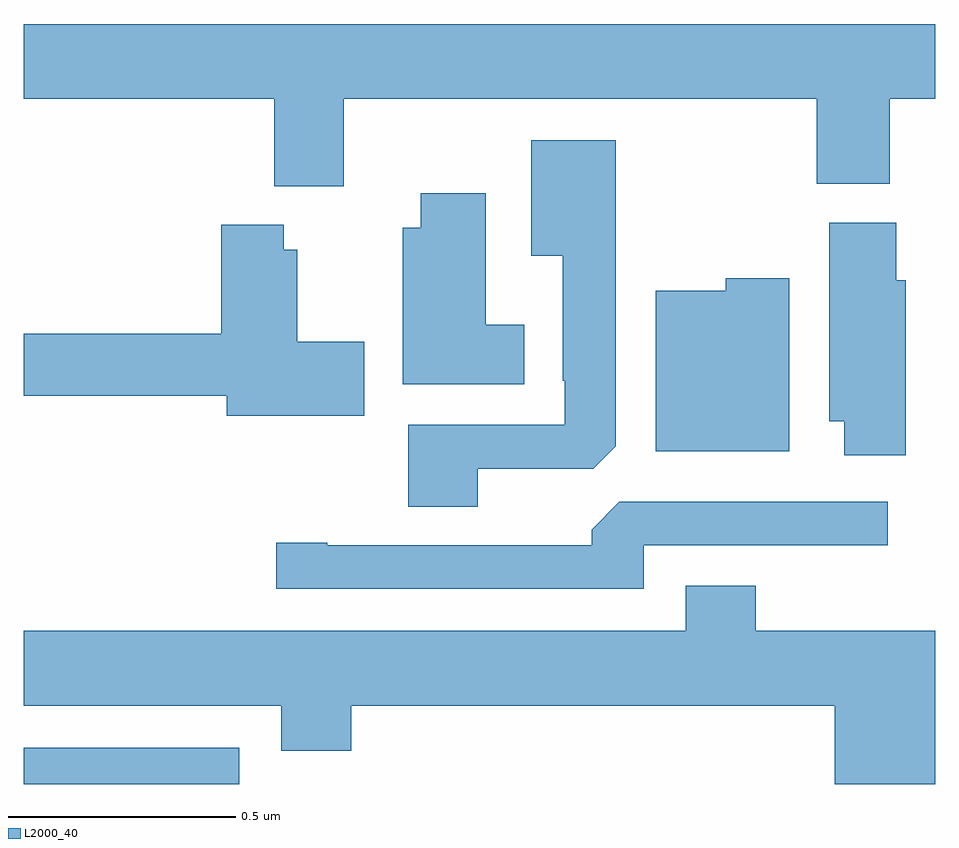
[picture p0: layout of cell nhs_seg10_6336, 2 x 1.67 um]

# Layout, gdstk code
import gdstk
lib = gdstk.Library(unit=1e-6, precision=1e-09)
def R(c, l, rs):  # rectangles x0, y0, x1, y1
    for r in rs: c.add(gdstk.rectangle(r[:2], r[2:], *l))
def P(c, l, *ps):  # polygons
    for p in ps: c.add(gdstk.Polygon(p, *l))
L2000_40 = (2000, 40)

nhs_seg10_6336 = lib.new_cell('nhs_seg10_6336')
R(nhs_seg10_6336, L2000_40, [(190,1277.5,190.473,1277.58)])
P(nhs_seg10_6336, L2000_40, [(190.702,1279.004),(191.74,1279.004),(191.74,1278.817),(191.9,1278.817),(191.9,1279.004),(192,1279.004),(192,1279.168),(190,1279.168),(190,1279.004),(190.55,1279.004),(190.55,1278.812),(190.702,1278.812)],
  [(190.996,1278.192),(191.25,1278.192),(191.299,1278.241),(191.299,1278.913),(191.114,1278.913),(191.114,1278.659),(191.183,1278.659),(191.183,1278.385),(191.187,1278.385),(191.187,1278.288),(190.844,1278.288),(190.844,1278.109),(190.996,1278.109)],
  [(191.098,1278.508),(191.014,1278.508),(191.014,1278.796),(190.871,1278.796),(190.871,1278.721),(190.832,1278.721),(190.832,1278.377),(191.098,1278.377)],
  [(191.936,1278.606),(191.915,1278.606),(191.915,1278.732),(191.768,1278.732),(191.768,1278.296),(191.801,1278.296),(191.801,1278.222),(191.936,1278.222)],
  [(190.747,1278.471),(190.6,1278.471),(190.6,1278.673),(190.57,1278.673),(190.57,1278.727),(190.433,1278.727),(190.433,1278.488),(190,1278.488),(190,1278.352),(190.445,1278.352),(190.445,1278.308),(190.747,1278.308)],
  [(191.68,1278.61),(191.541,1278.61),(191.541,1278.583),(191.387,1278.583),(191.387,1278.23),(191.68,1278.23)],
  [(191.361,1278.024),(191.896,1278.024),(191.896,1278.12),(191.307,1278.12),(191.246,1278.058),(191.246,1278.024),(190.666,1278.024),(190.666,1278.029),(190.554,1278.029),(190.554,1277.928),(191.361,1277.928)],
  [(192,1277.836),(191.606,1277.836),(191.606,1277.935),(191.453,1277.935),(191.453,1277.836),(190,1277.836),(190,1277.672),(190.565,1277.672),(190.565,1277.573),(190.718,1277.573),(190.718,1277.672),(191.78,1277.672),(191.78,1277.5),(192,1277.5)])

lib.write_gds('nhs_seg10_6336.gds')
